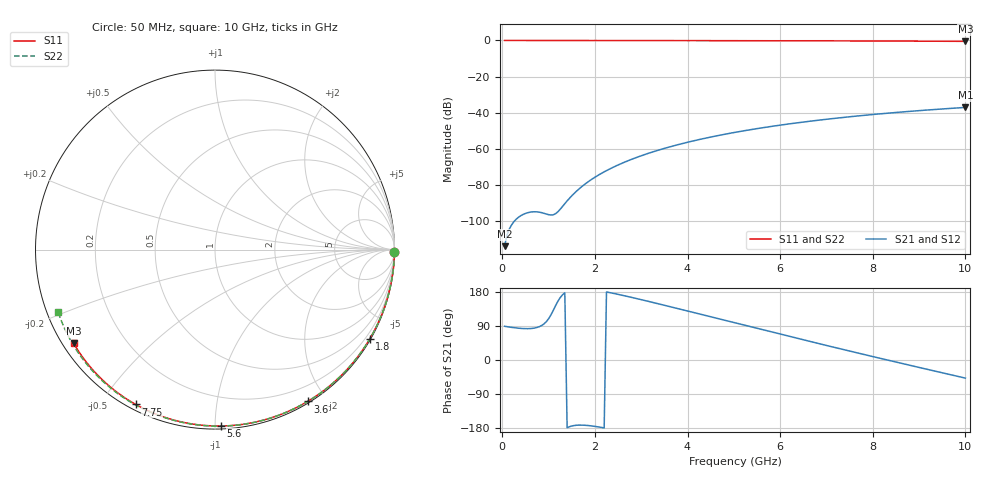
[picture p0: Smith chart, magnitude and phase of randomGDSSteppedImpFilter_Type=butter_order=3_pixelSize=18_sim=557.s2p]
! freq	dB(S11)	phase(S11)	dB(S12)	phase(S12)
!  dB(S21)	phase(S21)	dB(S22)	phase(S22)
!S-par simulation data
#  GHz  S  DB  R 50
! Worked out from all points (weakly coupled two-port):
!   200 points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, 50 MHz to 10 GHz, reference 50 ohm
!   highest |S21| = -37.06 dB at 10 GHz (marker M1); lowest = -113.8 dB at 50 MHz (marker M2)
!   lowest |S11| = -0.5 dB at 10 GHz (marker M3), VSWR 35.26, Z = 1.55 - j15.1 ohm
!   |S11| at or under -10 dB: nowhere
!   |S22| runs from -0.5 to 0.0 dB; largest |S21 - S12| = 0
!   S11 on the Smith chart (normalised r, x): 50 MHz: open; 1.8 GHz: 0.03, -3.72; 3.6 GHz: 0.02, -1.78; 5.6 GHz: 0.02, -1.04; 7.75 GHz: 0.02, -0.61; 10 GHz: 0.03, -0.30
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0.05  -0.00 -0.9  -113.82 89.0  -113.82 89.0  -0.00 -0.9
0.45  -0.01 -7.6  -96.25 83.0  -96.25 83.0  -0.01 -8.2
0.9  -0.02 -15.2  -95.63 95.3  -95.63 95.3  -0.02 -16.4
1.3  -0.03 -21.8  -91.86 171.9  -91.86 171.9  -0.03 -23.5
1.75  -0.04 -29.2  -80.17 -172.0  -80.17 -172.0  -0.04 -31.5
1.8  -0.04 -30.1  -79.19 -172.3  -79.19 -172.3  -0.04 -32.3
1.95  -0.04 -32.5  -76.51 -174.3  -76.51 -174.3  -0.04 -35.0
2.1  -0.04 -34.9  -74.14 -177.1  -74.14 -177.1  -0.05 -37.6
2.3  -0.05 -38.2  -71.35 178.4  -71.35 178.4  -0.05 -41.1
2.5  -0.05 -41.4  -68.90 173.3  -68.90 173.3  -0.06 -44.5
2.9  -0.06 -47.7  -64.72 162.2  -64.72 162.2  -0.07 -51.3
3.4  -0.07 -55.5  -60.47 147.5  -60.47 147.5  -0.08 -59.7
3.6  -0.08 -58.6  -58.99 141.4  -58.99 141.4  -0.08 -63.0
4.3  -0.10 -69.2  -54.55 120.1  -54.55 120.1  -0.11 -74.3
5.05  -0.12 -80.2  -50.73 97.1  -50.73 97.1  -0.13 -86.0
5.6  -0.14 -88.0  -48.38 80.4  -48.38 80.4  -0.16 -94.4
6.15  -0.17 -95.7  -46.32 63.7  -46.32 63.7  -0.18 -102.6
6.7  -0.20 -103.2  -44.51 47.2  -44.51 47.2  -0.22 -110.7
7.75  -0.27 -117.1  -41.58 16.3  -41.58 16.3  -0.29 -125.8
8.35  -0.32 -125.0  -40.17 -1.1  -40.17 -1.1  -0.35 -134.4
9.2  -0.40 -136.0  -38.44 -25.3  -38.44 -25.3  -0.43 -146.6
10  -0.49 -146.4  -37.06 -47.8  -37.06 -47.8  -0.53 -158.3
